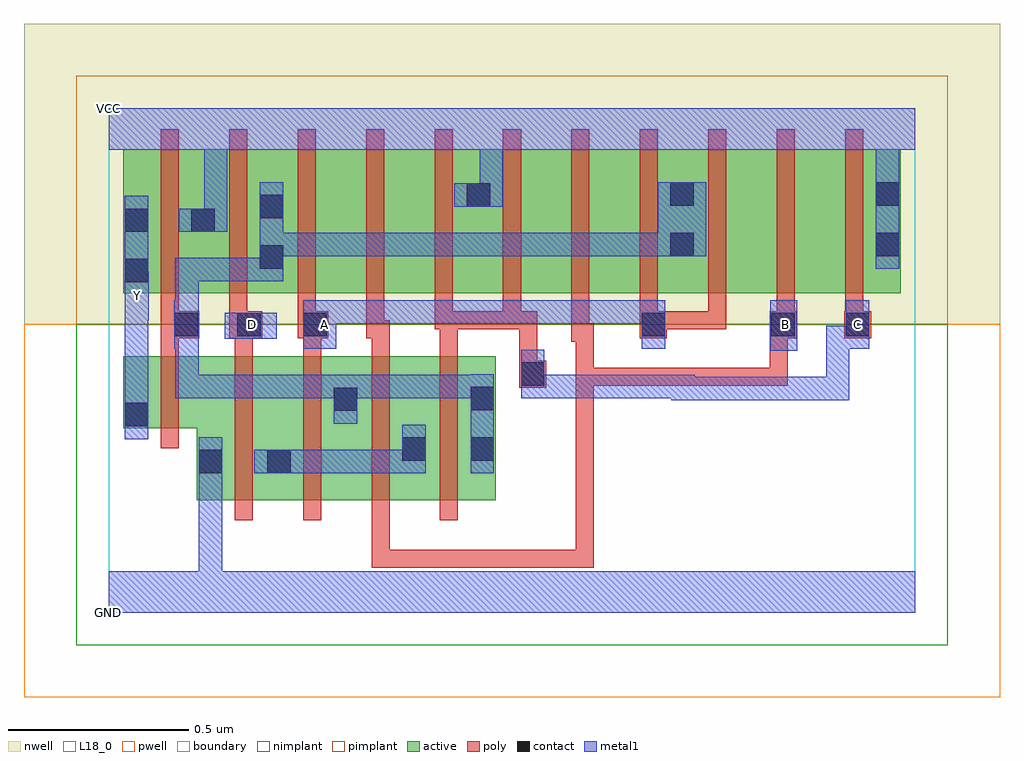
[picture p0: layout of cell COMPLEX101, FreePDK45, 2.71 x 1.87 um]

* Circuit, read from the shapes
.subckt COMPLEX101 A B C D GND VCC Y
M1 GND n1 Y VSUBS nfet w=0.2u l=0.05u
M2 n2 D GND VSUBS nfet w=0.4u l=0.05u
M3 n1 A n2 VSUBS nfet w=0.4u l=0.05u
M4 n2 B n1 VSUBS nfet w=0.4u l=0.05u
M5 n1 C n2 VSUBS nfet w=0.4u l=0.05u
M6 VCC n1 Y n3 pfet w=0.4u l=0.05u
M7 n1 D VCC n3 pfet w=0.4u l=0.05u
M8 n4 A n1 n3 pfet w=0.4u l=0.05u
M9 n5 B n4 n3 pfet w=0.4u l=0.05u
M10 VCC C n5 n3 pfet w=0.4u l=0.05u
M11 n6 C VCC n3 pfet w=0.4u l=0.05u
M12 n7 B n6 n3 pfet w=0.4u l=0.05u
M13 n1 A n7 n3 pfet w=0.4u l=0.05u
M14 n8 A n1 n3 pfet w=0.4u l=0.05u
M15 n9 B n8 n3 pfet w=0.4u l=0.05u
M16 VCC C n9 n3 pfet w=0.4u l=0.05u
.ends

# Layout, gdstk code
import gdstk
lib = gdstk.Library(unit=1e-6, precision=1e-09)
def R(c, l, rs):  # rectangles x0, y0, x1, y1
    for r in rs: c.add(gdstk.rectangle(r[:2], r[2:], *l))
def A(c, l, x, y, w, h, nx, ny, dx, dy):  # array of equal rectangles
    R(c, l, [(x+i*dx, y+j*dy, x+i*dx+w, y+j*dy+h) for i in range(nx) for j in range(ny)])
active = (1, 0)
pwell = (2, 0)
nwell = (3, 0)
nimplant = (4, 0)
pimplant = (5, 0)
poly = (9, 0)
contact = (10, 0)
metal1 = (11, 0)
L18_0 = (18, 0)
boundary = (235, 0)

complex101 = lib.new_cell('COMPLEX101')
A(complex101, active, 0.645, 0.887, 0.19, 0.4, 3, 1, 0.57, 0)
R(complex101, active, [(0.245,0.312,0.51,0.712), (0.245,0.312,0.32,0.597), (0.435,0.312,0.695,0.712), (0.62,0.312,0.885,0.712), (0.81,0.312,1.075,0.712), (0.435,0.332,0.51,0.597), (0.62,0.345,0.695,0.712), (0.81,0.345,0.885,0.537), (1,0.345,1.075,0.712), (0.04,0.512,0.32,0.712), (0.04,0.512,0.115,0.712), (0.04,0.887,0.3,1.287), (0.04,0.887,0.115,1.2), (0.225,0.887,0.49,1.287), (0.225,0.887,0.3,1.287), (0.415,0.887,0.645,1.287), (0.415,0.887,0.49,1.2), (0.835,0.887,1.065,1.287), (0.99,0.887,1.065,1.287), (0.99,0.887,1.215,1.287), (1.405,0.887,1.63,1.287), (1.555,0.887,1.785,1.287), (1.555,0.887,1.63,1.2), (1.975,0.887,2.2,1.287), (2.125,0.887,2.2,1.287)])
R(complex101, pwell, [(-0.235,-0.235,2.475,0.8)])
R(complex101, nwell, [(-0.235,0.8,2.475,1.635)])
R(complex101, nimplant, [(-0.09,-0.09,2.33,0.8)])
R(complex101, pimplant, [(-0.09,0.8,2.33,1.49)])
A(complex101, poly, 0.35, 0.257, 0.05, 0.51, 4, 1, 0.19, 0)
A(complex101, poly, 0.35, 0.717, 0.05, 0.095, 3, 1, 0.19, 0)
A(complex101, poly, 0.145, 0.787, 0.05, 0.095, 3, 1, 0.19, 0)
A(complex101, poly, 1.475, 0.787, 0.05, 0.095, 4, 1, 0.19, 0)
A(complex101, poly, 0.145, 0.832, 0.05, 0.51, 11, 1, 0.19, 0)
R(complex101, poly, [(0.73,0.125,0.78,0.175), (0.73,0.125,0.78,0.175), (0.73,0.125,0.78,0.175), (0.73,0.125,0.78,0.307), (0.73,0.125,0.912,0.175), (0.862,0.125,0.912,0.175), (0.862,0.125,0.912,0.175), (0.862,0.125,0.912,0.175), (0.862,0.125,1.102,0.175), (1.052,0.125,1.102,0.175), (1.052,0.125,1.102,0.175), (1.052,0.125,1.102,0.175), (1.052,0.125,1.317,0.175), (1.267,0.125,1.317,0.175), (1.267,0.125,1.347,0.175), (1.297,0.125,1.347,0.175), (1.297,0.125,1.347,0.68), (0.145,0.457,0.195,0.767), (1.14,0.625,1.215,0.7), (1.297,0.63,1.347,0.68), (1.297,0.63,1.347,0.68), (1.297,0.63,1.347,0.68), (1.297,0.63,1.45,0.68), (1.297,0.63,1.347,0.802), (1.4,0.63,1.45,0.68), (1.4,0.63,1.582,0.68), (1.532,0.63,1.582,0.68), (1.532,0.63,1.582,0.68), (1.532,0.63,1.582,0.68), (1.532,0.63,1.752,0.68), (1.702,0.63,1.752,0.68), (1.702,0.63,1.752,0.68), (1.702,0.63,1.752,0.68), (1.702,0.63,1.885,0.68), (1.835,0.63,1.885,0.68), (1.835,0.63,1.885,0.812), (1.14,0.65,1.19,0.837), (0.145,0.717,0.195,0.812), (0.92,0.717,0.97,0.837), (1.285,0.752,1.335,0.882), (1.285,0.752,1.347,0.802), (1.297,0.752,1.347,0.802), (1.297,0.752,1.347,0.802), (0.145,0.762,0.252,0.837), (0.335,0.762,0.427,0.837), (0.525,0.762,0.61,0.837), (0.715,0.762,0.765,0.882), (0.715,0.762,0.78,0.812), (1.475,0.762,1.55,0.837), (1.835,0.762,1.91,0.837), (1.835,0.762,1.885,0.812), (1.835,0.762,1.885,0.812), (2.042,0.762,2.117,0.837), (0.905,0.787,0.955,0.882), (0.905,0.787,0.97,0.837), (0.92,0.787,1.145,0.837), (1.095,0.787,1.145,0.882), (1.095,0.787,1.145,0.837), (1.095,0.787,1.145,0.837), (1.095,0.787,1.165,0.837), (1.115,0.787,1.165,0.837), (1.115,0.787,1.19,0.837), (1.5,0.787,1.582,0.837), (1.532,0.787,1.582,0.837), (1.532,0.787,1.715,0.837), (1.665,0.787,1.715,0.837)])
R(complex101, contact, [(0.25,0.387,0.315,0.452), (0.44,0.387,0.505,0.452), (0.815,0.422,0.88,0.487), (1.005,0.422,1.07,0.487), (0.045,0.517,0.11,0.582), (0.625,0.56,0.69,0.625), (1.005,0.562,1.07,0.627), (1.145,0.63,1.21,0.695), (0.182,0.767,0.247,0.832), (0.357,0.767,0.422,0.832), (0.54,0.767,0.605,0.832), (1.48,0.767,1.545,0.832), (1.84,0.767,1.905,0.832), (2.047,0.767,2.112,0.832), (0.045,0.917,0.11,0.982), (0.42,0.955,0.485,1.02), (1.56,0.99,1.625,1.055), (2.13,0.99,2.195,1.055), (0.045,1.057,0.11,1.122), (0.23,1.057,0.295,1.122), (0.42,1.095,0.485,1.16), (0.995,1.127,1.06,1.192), (1.56,1.13,1.625,1.195), (2.13,1.13,2.195,1.195)])
R(complex101, metal1, [(0,0,2.24,0.115), (0.25,0.05,0.315,0.115), (0.25,0.05,0.315,0.115), (0.25,0.05,0.315,0.417), (0.25,0.352,0.315,0.487), (0.25,0.352,0.315,0.417), (0.25,0.352,0.315,0.417), (0.405,0.387,0.54,0.452), (0.475,0.387,0.677,0.452), (0.612,0.387,0.677,0.452), (0.612,0.387,0.677,0.452), (0.612,0.387,0.677,0.452), (0.612,0.387,0.88,0.452), (0.815,0.387,0.88,0.522), (0.815,0.387,0.88,0.452), (0.815,0.387,0.88,0.452), (1.005,0.387,1.07,0.662), (0.045,0.482,0.11,0.617), (0.625,0.525,0.69,0.66), (0.045,0.552,0.11,0.877), (1.562,0.59,1.627,0.655), (1.562,0.59,1.627,0.655), (1.562,0.59,1.765,0.655), (1.562,0.59,1.627,0.66), (1.7,0.59,1.765,0.655), (1.7,0.59,1.765,0.655), (1.7,0.59,1.765,0.655), (1.7,0.59,1.902,0.655), (1.837,0.59,1.902,0.655), (1.837,0.59,2.057,0.655), (1.992,0.59,2.057,0.797), (1.992,0.59,2.057,0.655), (0.185,0.595,0.25,0.66), (0.185,0.595,0.467,0.66), (0.185,0.595,0.25,0.797), (0.402,0.595,0.467,0.66), (0.402,0.595,0.467,0.66), (0.402,0.595,0.467,0.66), (0.402,0.595,0.69,0.66), (0.625,0.595,0.69,0.66), (0.625,0.595,0.69,0.66), (0.625,0.595,0.887,0.66), (0.822,0.595,0.887,0.66), (0.822,0.595,0.887,0.66), (0.822,0.595,0.887,0.66), (0.822,0.595,1.07,0.66), (1.005,0.595,1.07,0.66), (1.005,0.595,1.07,0.66), (1.145,0.595,1.21,0.73), (1.145,0.595,1.21,0.66), (1.145,0.595,1.21,0.66), (1.145,0.595,1.21,0.66), (1.145,0.595,1.21,0.66), (1.145,0.595,1.407,0.66), (1.342,0.595,1.407,0.66), (1.342,0.595,1.407,0.66), (1.342,0.595,1.407,0.66), (1.342,0.595,1.627,0.66), (1.837,0.727,1.912,0.867), (0.182,0.732,0.247,0.867), (0.182,0.732,0.25,0.797), (0.185,0.732,0.25,0.797), (0.185,0.732,0.25,0.985), (0.54,0.732,0.632,0.867), (1.48,0.732,1.545,0.867), (1.992,0.732,2.112,0.797), (1.992,0.732,2.057,0.797), (2.047,0.732,2.112,0.867), (0.322,0.76,0.467,0.832), (0.567,0.802,0.677,0.867), (0.612,0.802,0.677,0.867), (0.612,0.802,0.88,0.867), (0.815,0.802,0.88,0.867), (0.815,0.802,0.88,0.867), (0.815,0.802,0.88,0.867), (0.815,0.802,1.07,0.867), (1.005,0.802,1.07,0.867), (1.005,0.802,1.07,0.867), (1.005,0.802,1.07,0.867), (1.005,0.802,1.207,0.867), (1.142,0.802,1.207,0.867), (1.142,0.802,1.207,0.867), (1.142,0.802,1.207,0.867), (1.142,0.802,1.347,0.867), (1.282,0.802,1.347,0.867), (1.282,0.802,1.347,0.867), (1.282,0.802,1.347,0.867), (1.282,0.802,1.545,0.867), (0.045,0.812,0.112,0.947), (0.045,0.882,0.11,1.157), (0.045,0.882,0.11,0.947), (0.185,0.92,0.25,0.985), (0.185,0.92,0.467,0.985), (0.402,0.92,0.467,0.985), (0.402,0.92,0.485,0.985), (0.42,0.92,0.485,1.195), (2.13,0.955,2.195,1.23), (0.42,0.99,0.742,1.055), (0.677,0.99,0.742,1.055), (0.677,0.99,0.742,1.055), (0.677,0.99,0.742,1.055), (0.677,0.99,0.887,1.055), (0.822,0.99,0.887,1.055), (0.822,0.99,0.887,1.055), (0.822,0.99,0.887,1.055), (0.822,0.99,1.07,1.055), (1.005,0.99,1.07,1.055), (1.005,0.99,1.07,1.055), (1.005,0.99,1.07,1.055), (1.005,0.99,1.207,1.055), (1.142,0.99,1.207,1.055), (1.142,0.99,1.207,1.055), (1.142,0.99,1.207,1.055), (1.142,0.99,1.347,1.055), (1.282,0.99,1.347,1.055), (1.282,0.99,1.347,1.055), (1.282,0.99,1.347,1.055), (1.282,0.99,1.59,1.055), (1.525,0.99,1.59,1.055), (1.525,0.99,1.59,1.055), (1.525,0.99,1.66,1.195), (0.195,1.057,0.33,1.122), (0.265,1.057,0.33,1.35), (0.96,1.127,1.095,1.192), (1.03,1.127,1.095,1.35), (2.13,1.165,2.195,1.35), (0,1.285,2.24,1.4)])
R(complex101, L18_0, [(0,0,2.24,0.115), (0.25,0.05,0.315,0.115), (0.25,0.05,0.315,0.115), (0.25,0.05,0.315,0.417), (0.25,0.352,0.315,0.487), (0.25,0.352,0.315,0.417), (0.25,0.352,0.315,0.417), (0.045,0.482,0.11,0.617), (0.045,0.552,0.11,0.877), (1.562,0.59,1.627,0.655), (1.562,0.59,1.627,0.655), (1.562,0.59,1.627,0.66), (1.562,0.59,1.765,0.655), (1.7,0.59,1.765,0.655), (1.7,0.59,1.765,0.655), (1.7,0.59,1.765,0.655), (1.7,0.59,1.902,0.655), (1.837,0.59,1.902,0.655), (1.837,0.59,2.057,0.655), (1.992,0.59,2.057,0.655), (1.992,0.59,2.057,0.797), (1.145,0.595,1.21,0.73), (1.145,0.595,1.21,0.66), (1.145,0.595,1.21,0.66), (1.145,0.595,1.21,0.66), (1.145,0.595,1.21,0.66), (1.145,0.595,1.407,0.66), (1.342,0.595,1.407,0.66), (1.342,0.595,1.407,0.66), (1.342,0.595,1.407,0.66), (1.342,0.595,1.627,0.66), (1.837,0.727,1.912,0.867), (0.54,0.732,0.632,0.867), (1.48,0.732,1.545,0.867), (1.992,0.732,2.057,0.797), (1.992,0.732,2.112,0.797), (2.047,0.732,2.112,0.867), (0.322,0.76,0.467,0.832), (0.367,0.767,0.432,0.832), (0.567,0.767,0.632,0.832), (1.847,0.767,1.912,0.832), (2.047,0.767,2.112,0.832), (0.567,0.802,0.677,0.867), (0.612,0.802,0.677,0.867), (0.612,0.802,0.88,0.867), (0.815,0.802,0.88,0.867), (0.815,0.802,0.88,0.867), (0.815,0.802,0.88,0.867), (0.815,0.802,1.07,0.867), (1.005,0.802,1.07,0.867), (1.005,0.802,1.07,0.867), (1.005,0.802,1.07,0.867), (1.005,0.802,1.207,0.867), (1.142,0.802,1.207,0.867), (1.142,0.802,1.207,0.867), (1.142,0.802,1.207,0.867), (1.142,0.802,1.347,0.867), (1.282,0.802,1.347,0.867), (1.282,0.802,1.347,0.867), (1.282,0.802,1.347,0.867), (1.282,0.802,1.545,0.867), (0.045,0.812,0.112,0.947), (0.047,0.847,0.112,0.912), (0.045,0.882,0.11,1.157), (0.045,0.882,0.11,0.947), (2.13,0.955,2.195,1.23), (0.195,1.057,0.33,1.122), (0.265,1.057,0.33,1.35), (0.96,1.127,1.095,1.192), (1.03,1.127,1.095,1.35), (2.13,1.165,2.195,1.35), (0,1.285,2.24,1.4)])
R(complex101, boundary, [(0,0,2.24,1.4)])
complex101.add(gdstk.Label('A', (0.6,0.8), layer=11, texttype=0))
complex101.add(gdstk.Label('B', (1.88,0.8), layer=11, texttype=0))
complex101.add(gdstk.Label('C', (2.08,0.8), layer=11, texttype=0))
complex101.add(gdstk.Label('D', (0.4,0.8), layer=11, texttype=0))
complex101.add(gdstk.Label('Y', (0.08,0.88), layer=11, texttype=0))
complex101.add(gdstk.Label('VCC', (0,1.4), layer=11, texttype=0))
complex101.add(gdstk.Label('GND', (0,0), layer=11, texttype=0))

lib.write_gds('COMPLEX101.gds')
